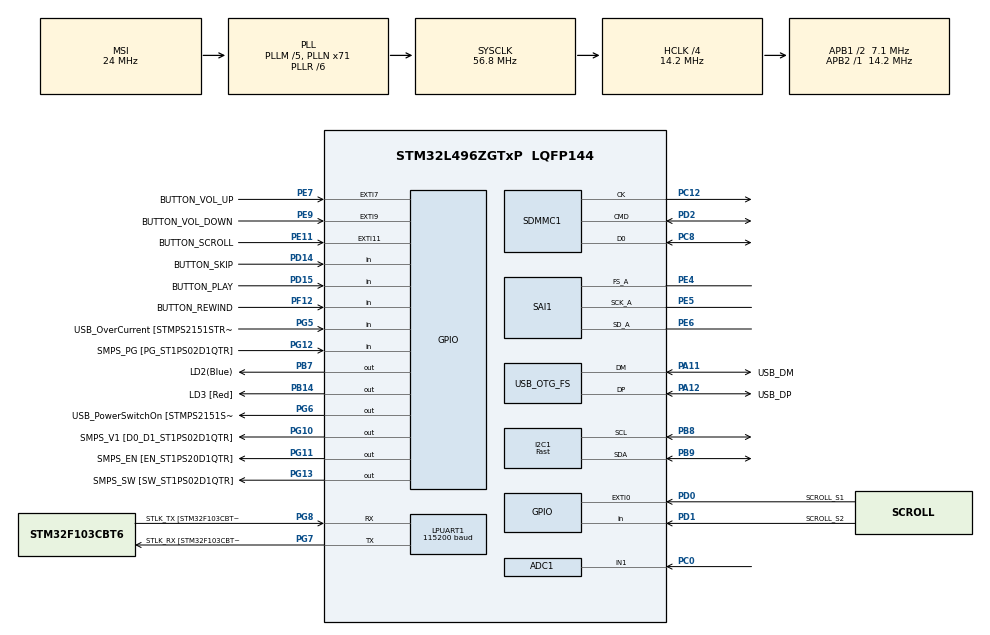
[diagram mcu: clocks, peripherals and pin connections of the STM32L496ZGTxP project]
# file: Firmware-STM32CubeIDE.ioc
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ADC1.Channel-0\#ChannelRegularConversion=ADC_CHANNEL_1
ADC1.NbrOfConversionFlag=1
ADC1.OffsetNumber-0\#ChannelRegularConversion=ADC_OFFSET_NONE
ADC1.Rank-0\#ChannelRegularConversion=1
ADC1.SamplingTime-0\#ChannelRegularConversion=ADC_SAMPLETIME_2CYCLES_5
ADC1.master=1
Dma.ADC1.3.Direction=DMA_PERIPH_TO_MEMORY
Dma.ADC1.3.Instance=DMA1_Channel1
Dma.ADC1.3.MemDataAlignment=DMA_MDATAALIGN_HALFWORD
Dma.ADC1.3.MemInc=DMA_MINC_ENABLE
Dma.ADC1.3.Mode=DMA_CIRCULAR
Dma.ADC1.3.PeriphDataAlignment=DMA_PDATAALIGN_HALFWORD
Dma.ADC1.3.PeriphInc=DMA_PINC_DISABLE
Dma.ADC1.3.Priority=DMA_PRIORITY_LOW
Dma.Request0=SDMMC1_RX
Dma.Request1=SDMMC1_TX
Dma.Request2=SAI1_A
Dma.Request3=ADC1
Dma.SAI1_A.2.Direction=DMA_MEMORY_TO_PERIPH
Dma.SAI1_A.2.Instance=DMA2_Channel1
Dma.SAI1_A.2.MemDataAlignment=DMA_MDATAALIGN_HALFWORD
Dma.SAI1_A.2.MemInc=DMA_MINC_ENABLE
Dma.SAI1_A.2.Mode=DMA_CIRCULAR
Dma.SAI1_A.2.PeriphDataAlignment=DMA_PDATAALIGN_HALFWORD
Dma.SAI1_A.2.PeriphInc=DMA_PINC_DISABLE
Dma.SAI1_A.2.Priority=DMA_PRIORITY_LOW
Dma.SDMMC1_RX.0.Direction=DMA_PERIPH_TO_MEMORY
Dma.SDMMC1_RX.0.Instance=DMA2_Channel4
Dma.SDMMC1_RX.0.MemDataAlignment=DMA_MDATAALIGN_WORD
Dma.SDMMC1_RX.0.MemInc=DMA_MINC_ENABLE
Dma.SDMMC1_RX.0.Mode=DMA_NORMAL
Dma.SDMMC1_RX.0.PeriphDataAlignment=DMA_PDATAALIGN_WORD
Dma.SDMMC1_RX.0.PeriphInc=DMA_PINC_DISABLE
Dma.SDMMC1_RX.0.Priority=DMA_PRIORITY_LOW
Dma.SDMMC1_TX.1.Direction=DMA_MEMORY_TO_PERIPH
Dma.SDMMC1_TX.1.Instance=DMA2_Channel5
Dma.SDMMC1_TX.1.MemDataAlignment=DMA_MDATAALIGN_WORD
Dma.SDMMC1_TX.1.MemInc=DMA_MINC_ENABLE
Dma.SDMMC1_TX.1.Mode=DMA_NORMAL
Dma.SDMMC1_TX.1.PeriphDataAlignment=DMA_PDATAALIGN_WORD
Dma.SDMMC1_TX.1.PeriphInc=DMA_PINC_DISABLE
Dma.SDMMC1_TX.1.Priority=DMA_PRIORITY_LOW
I2C1.I2C_Speed_Mode=I2C_Fast
I2C1.Timing=0x00100208
LPUART1.BaudRate=115200
Mcu.Family=STM32L4
Mcu.Name=STM32L496ZGTxP
Mcu.Package=LQFP144
NVIC.ADC1_2_IRQn=true\:0\:0\:false\:false\:true\:true\:true\:true
NVIC.DMA1_Channel1_IRQn=true\:0\:0\:false\:false\:true\:false\:true\:true
NVIC.DMA2_Channel1_IRQn=true\:0\:0\:false\:false\:true\:false\:true\:true
NVIC.DMA2_Channel4_IRQn=true\:0\:0\:false\:false\:true\:false\:true\:true
NVIC.DMA2_Channel5_IRQn=true\:0\:0\:false\:false\:true\:false\:true\:true
NVIC.EXTI0_IRQn=true\:0\:0\:false\:false\:true\:true\:true\:true
NVIC.EXTI15_10_IRQn=true\:0\:0\:false\:false\:true\:true\:true\:true
NVIC.EXTI9_5_IRQn=true\:1\:0\:true\:false\:true\:true\:true\:true
NVIC.OTG_FS_IRQn=true\:0\:0\:false\:false\:true\:true\:true\:true
NVIC.PriorityGroup=NVIC_PRIORITYGROUP_4
NVIC.SDMMC1_IRQn=true\:0\:0\:false\:false\:true\:true\:true\:true
NVIC.TIM1_UP_TIM16_IRQn=true\:0\:0\:false\:false\:true\:true\:true\:true
PA10.GPIO_Label=USB_ID
PA10.Signal=USB_OTG_FS_ID
PA11.GPIO_Label=USB_DM
PA11.Mode=Host_Only
PA11.Signal=USB_OTG_FS_DM
PA12.GPIO_Label=USB_DP
PA12.Mode=Host_Only
PA12.Signal=USB_OTG_FS_DP
PA13\ (JTMS/SWDIO).GPIO_Label=TMS
PA13\ (JTMS/SWDIO).Mode=Trace_Asynchronous_SW
PA13\ (JTMS/SWDIO).Signal=SYS_JTMS-SWDIO
PA14\ (JTCK/SWCLK).GPIO_Label=TCK
PA14\ (JTCK/SWCLK).Mode=Trace_Asynchronous_SW
PA14\ (JTCK/SWCLK).Signal=SYS_JTCK-SWCLK
PA8.GPIO_Label=USB_SOF [TP1]
PA8.Signal=USB_OTG_FS_SOF
PA9.GPIO_Label=USB_VBUS
PA9.Signal=USB_OTG_FS_VBUS
PB14.GPIO_Label=LD3 [Red]
PB14.Signal=GPIO_Output
PB3\ (JTDO/TRACESWO).GPIO_Label=SWO
PB3\ (JTDO/TRACESWO).Mode=Trace_Asynchronous_SW
PB3\ (JTDO/TRACESWO).Signal=SYS_JTDO-SWO
PB7.GPIO_Label=LD2(Blue)
PB7.Signal=GPIO_Output
PB8.Mode=I2C
PB8.Signal=I2C1_SCL
PB9.Mode=I2C
PB9.Signal=I2C1_SDA
PC0.Signal=ADCx_IN1
PC12.Mode=SD_1_bit
PC12.Signal=SDMMC1_CK
PC14-OSC32_IN\ (PC14).Mode=LSE-External-Oscillator
PC14-OSC32_IN\ (PC14).Signal=RCC_OSC32_IN
PC15-OSC32_OUT\ (PC15).Mode=LSE-External-Oscillator
PC15-OSC32_OUT\ (PC15).Signal=RCC_OSC32_OUT
PC8.GPIO_PuPd=GPIO_PULLUP
PC8.Mode=SD_1_bit
PC8.Signal=SDMMC1_D0
PD0.GPIO_Label=SCROLL_S1
PD0.GPIO_ModeDefaultEXTI=GPIO_MODE_IT_RISING
PD0.Signal=GPXTI0
PD1.GPIO_Label=SCROLL_S2
PD1.GPIO_PuPd=GPIO_PULLUP
PD1.Signal=GPIO_Input
PD14.GPIO_Label=BUTTON_SKIP
PD14.GPIO_PuPd=GPIO_PULLDOWN
PD14.Signal=GPIO_Input
PD15.GPIO_Label=BUTTON_PLAY
PD15.GPIO_PuPd=GPIO_PULLDOWN
PD15.Signal=GPIO_Input
PD2.GPIO_PuPd=GPIO_PULLUP
PD2.Mode=SD_1_bit
PD2.Signal=SDMMC1_CMD
PE11.GPIO_Label=BUTTON_SCROLL
PE11.GPIO_ModeDefaultEXTI=GPIO_MODE_IT_RISING
PE11.GPIO_PuPd=GPIO_PULLDOWN
PE11.Signal=GPXTI11
PE4.Mode=SAI_A_Master
PE4.Signal=SAI1_FS_A
PE5.Mode=SAI_A_Master
PE5.Signal=SAI1_SCK_A
PE6.Mode=SAI_A_Master
PE6.Signal=SAI1_SD_A
PE7.GPIO_Label=BUTTON_VOL_UP
PE7.GPIO_PuPd=GPIO_PULLDOWN
PE7.Signal=GPXTI7
PE9.GPIO_Label=BUTTON_VOL_DOWN
PE9.GPIO_PuPd=GPIO_PULLDOWN
PE9.Signal=GPXTI9
PF12.GPIO_Label=BUTTON_REWIND
PF12.GPIO_PuPd=GPIO_PULLDOWN
PF12.Signal=GPIO_Input
PG10.GPIO_Label=SMPS_V1 [D0_D1_ST1PS02D1QTR]
PG10.Signal=GPIO_Output
PG11.GPIO_Label=SMPS_EN [EN_ST1PS20D1QTR]
PG11.Signal=GPIO_Output
PG12.GPIO_Label=SMPS_PG [PG_ST1PS02D1QTR]
PG12.Signal=GPIO_Input
PG13.GPIO_Label=SMPS_SW [SW_ST1PS02D1QTR]
PG13.Signal=GPIO_Output
PG5.GPIO_Label=USB_OverCurrent [STMPS2151STR_FAULT]
PG5.Signal=GPIO_Input
PG6.GPIO_Label=USB_PowerSwitchOn [STMPS2151STR_EN]
PG6.Signal=GPIO_Output
PG7.GPIO_Label=STLK_RX [STM32F103CBT6_PA3]
PG7.Mode=Asynchronous
PG7.Signal=LPUART1_TX
PG8.GPIO_Label=STLK_TX [STM32F103CBT6_PA2]
PG8.Mode=Asynchronous
PG8.Signal=LPUART1_RX
PH0-OSC_IN\ (PH0).GPIO_Label=MCO
PH0-OSC_IN\ (PH0).Signal=RCC_OSC_IN
PH1-OSC_OUT\ (PH1).Signal=RCC_OSC_OUT
ProjectManager.HeapSize=0x200
ProjectManager.StackSize=0x400
ProjectManager.TargetToolchain=STM32CubeIDE
RCC.48MHZClocksFreq_Value=24000000
RCC.ADCFreq_Value=48000000
RCC.AHBCLKDivider=RCC_SYSCLK_DIV4
RCC.AHBFreq_Value=14200000
RCC.APB1CLKDivider=RCC_HCLK_DIV2
RCC.APB1Freq_Value=7100000
RCC.APB1TimFreq_Value=14200000
RCC.APB2Freq_Value=14200000
RCC.APB2TimFreq_Value=14200000
RCC.CortexFreq_Value=14200000
RCC.HCLKFreq_Value=14200000
RCC.HSE_VALUE=8000000
RCC.HSI48_VALUE=48000000
RCC.HSI_VALUE=16000000
RCC.MSIClockRange=RCC_MSIRANGE_9
RCC.MSI_VALUE=24000000
RCC.PLLM=5
RCC.PLLMUL=RCC_PLL_MUL9
RCC.PLLN=71
RCC.PLLR=RCC_PLLR_DIV6
RCC.PLLSAI1N=20
RCC.PRESCALERUSB=RCC_USBCLKSOURCE_PLL_DIV1_5
RCC.SYSCLKFreq_VALUE=56800000
RCC.SYSCLKSource=RCC_SYSCLKSOURCE_PLLCLK
RCC.SYSCLKSourceVirtual=RCC_SYSCLKSOURCE_PLLCLK
RCC.USBFreq_Value=48000000
RCC.VCOOutputFreq_Value=340800000
SAI1.AudioFrequency-SAI_A_Master=SAI_AUDIO_FREQUENCY_44K
SAI1.ErrorAudioFreq-SAI_A_Master=6.29 %
SAI1.InitProtocol-SAI_A_Master=Enable
SAI1.Instance-SAI_A_Master=SAI$Index_Block_A
SAI1.MClockEnable-SAI_A_Master=SAI_MASTERCLOCK_DISABLE
SAI1.RealAudioFreq-SAI_A_Master=46.875 KHz
SAI1.VirtualMode-SAI_A_Master=VM_MASTER
SAI1.VirtualProtocol-SAI_A_BASIC=VM_BASIC_PROTOCOL
SDMMC1.ClockDiv=16
SH.ADCx_IN1.0=ADC1_IN1,IN1-Single-Ended
TIM1.Period=65535
TIM1.Prescaler=14199
USB_HOST.BSP.number=1
USB_HOST.USBH_HandleTypeDef=hUsbHostFS
USB_HOST.VirtualModeFS=Audio
USB_HOST0.BSP.STBoard=false
USB_HOST0.BSP.api=UnknownBspDriver
USB_HOST0.BSP.instance=PG6
USB_HOST0.BSP.ip=GPIO
USB_HOST0.BSP.mode=Output
USB_HOST0.BSP.name=Drive_VBUS_FS
USB_HOST0.BSP.solution=PG6
USB_OTG_FS.VirtualMode=Host_Only
USB_OTG_FS.phy_itface=HCD_PHY_EMBEDDED
VP_CRC_VS_CRC.Mode=CRC_Activate
VP_FATFS_VS_SDIO.Mode=SDIO
VP_SAI1_VP_$IpInstance_SAIA_SAI_BASIC.Mode=SAI_A_BASIC
VP_TIM1_VS_ClockSourceINT.Mode=Internal
VP_USB_HOST_VS_USB_HOST_AUDIO_FS.Mode=AUDIO_FS
board=NUCLEO-L496ZG-P

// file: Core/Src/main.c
/* USER CODE BEGIN Header */
/**
  ******************************************************************************
  * @file           : main.c
  * @brief          : Main program body
  ******************************************************************************
  * @attention
  *
  * Copyright (c) 2026 STMicroelectronics.
  * All rights reserved.
  *
  * This software is licensed under terms that can be found in the LICENSE file
  * in the root directory of this software component.
  * If no LICENSE file comes with this software, it is provided AS-IS.
  *
  ******************************************************************************
  */
/* USER CODE END Header */
#include "main.h"
#include "fatfs.h"
#include "usb_host.h"

/* USER CODE BEGIN Includes */
#include "ssd1306.h"
#include "ssd1306_tests.h"
#include "ssd1306_fonts.h"
#include "display.h"

#include <stdint.h>
#include <stdio.h>
#include <string.h>
#include <stdbool.h>
/* USER CODE END Includes */

/* USER CODE BEGIN PTD */
typedef struct {
  char *name;
  uint8_t next_screen;
} menu_screen;
/* USER CODE END PTD */

/* USER CODE BEGIN PM */

/* Top Level / Home States */

#define MAIN_MENU 0
#define MUSIC_MENU 1
#define TIMER_MENU 2
#define ALARM_MENU 3
#define SETTINGS_MENU 4

// #define HOME_PAGE_STATE           0
// #define HOME_MUSIC_STATE     1
// #define HOME_TIMER_STATE     2
// #define HOME_ALARM_STATE     3

// /* Music Sub-States */
// #define MUSIC_HOME_STATE 4
// #define MUSIC_PLAYLIST_STATE 5
// #define MUSIC_ALBUM_STATE    6
// #define MUSIC_ALLSONGS_STATE 7
// #define MUSIC_ARTIST_STATE 14

// /* Timer Sub-States */
#define PRESET_TIMERS_MENU   20
#define SET_TIMER_MENU 21

// /* Alarm Sub-States */
// #define ALARM_HOME_STATE 11
// #define ALARM_PRESET_STATE   12
// #define ALARM_SET_STATE      13

//Debugging defines
#define LD3_ON  (HAL_GPIO_WritePin(LD3_GPIO_Port,LD3_Pin, GPIO_PIN_SET))
#define LD3_OFF  (HAL_GPIO_WritePin(LD3_GPIO_Port,LD3_Pin, GPIO_PIN_RESET))
#define LD2_ON  (HAL_GPIO_WritePin(LD2_GPIO_Port,LD2_Pin, GPIO_PIN_SET))
#define LD2_OFF  (HAL_GPIO_WritePin(LD2_GPIO_Port,LD2_Pin, GPIO_PIN_RESET))

#define PLAY_PRESSED (HAL_GPIO_ReadPin(BUTTON_PLAY_GPIO_Port, BUTTON_PLAY_Pin) == GPIO_PIN_SET)
#define REWIND_PRESSED (HAL_GPIO_ReadPin(BUTTON_REWIND_GPIO_Port, BUTTON_REWIND_Pin) == GPIO_PIN_SET)
#define SKIP_PRESSED (HAL_GPIO_ReadPin(BUTTON_SKIP_GPIO_Port, BUTTON_SKIP_Pin) == GPIO_PIN_SET)
#define VOL_DOWN_PRESSED (HAL_GPIO_ReadPin(BUTTON_VOL_DOWN_GPIO_Port, BUTTON_VOL_DOWN_Pin) == GPIO_PIN_SET)
#define VOL_UP_PRESSED   (HAL_GPIO_ReadPin(BUTTON_VOL_UP_GPIO_Port, BUTTON_VOL_UP_Pin) == GPIO_PIN_SET)
#define SCROLL_BUTTON_PRESSED (HAL_GPIO_ReadPin(BUTTON_SCROLL_GPIO_Port, BUTTON_SCROLL_Pin) == GPIO_PIN_RESET)

/* USER CODE END PM */

ADC_HandleTypeDef hadc1;
DMA_HandleTypeDef hdma_adc1;

CRC_HandleTypeDef hcrc;

I2C_HandleTypeDef hi2c1;

UART_HandleTypeDef hlpuart1;

SAI_HandleTypeDef hsai_BlockA1;
DMA_HandleTypeDef hdma_sai1_a;

SD_HandleTypeDef hsd1;
DMA_HandleTypeDef hdma_sdmmc1_rx;
DMA_HandleTypeDef hdma_sdmmc1_tx;

TIM_HandleTypeDef htim1;

/* USER CODE BEGIN PV */
/*
  _____  _____  _______      __       _______ ______   __      __     _____  _____          ____  _      ______  _____
 |  __ \|  __ \|_   _\ \    / /   /\ |__   __|  ____|  \ \    / /\   |  __ \|_   _|   /\   |  _ \| |    |  ____|/ ____|
 | |__) | |__) | | |  \ \  / /   /  \   | |  | |__      \ \  / /  \  | |__) | | |    /  \  | |_) | |    | |__  | (___
 |  ___/|  _  /  | |   \ \/ /   / /\ \  | |  |  __|      \ \/ / /\ \ |  _  /  | |   / /\ \ |  _ <| |    |  __|  \___ \
 | |    | | \ \ _| |_   \  /   / ____ \ | |  | |____      \  / ____ \| | \ \ _| |_ / ____ \| |_) | |____| |____ ____) |
 |_|    |_|  \_\_____|   \/   /_/    \_\|_|  |______|      \/_/    \_\_|  \_\_____/_/    \_\____/|______|______|_____/

*/

/* USER CODE BEGIN PV */
#include "spiritMP3Dec.h" // Ensure this is in your Middlewares folder

TSpiritMP3Decoder mp3_decoder;
TSpiritMP3Info mp3_info;

// Buffer for encoded MP3 data (The "Input")
#define MP3_IN_BUF_SIZE 4096
uint8_t mp3_input_buffer[MP3_IN_BUF_SIZE];

// The audio_buffer you already have will now be the "Output" (PCM)
// Note: SpiritMP3 decodes in frames of 1152 samples per channel.

//Initialisation Code
char test_song[20]="music.wav";
uint8_t current_state = 0;
uint8_t next_state = 0;
bool down_button_last = false;

// SDMMC
FATFS MyFatFS;
FIL MyFile;
FRESULT res;
UINT bw;
uint32_t byteswritten;

// Audio
#define AUDIO_BUF_SIZE (1152*2*2)
#define READBUF_SIZE 4096
uint16_t audio_buffer[AUDIO_BUF_SIZE]; // The main buffer
uint8_t playing = 0;                   // State flag
UINT bytes_read;                       // To track SD card progress
uint8_t readBuf[READBUF_SIZE]; // Buffer for encoded MP3 data
int16_t outBuf[2 * 1152];      // Buffer for decoded PCM data
uint32_t adc_buffer[1];
uint8_t timer_ready = 0;
uint8_t last_button_state = 0;

// Display
volatile uint8_t music_option = 0;
uint16_t gpio_pin = 0;
uint32_t duration;
volatile uint8_t button_scroll_flag = 0;
volatile uint8_t stop_requested = 0;

#define SD_ROOT     "0:/"
#define SD_MUSIC    "0:/Music"

// Miscellaneous (Buttons, Sensors, States etc.)
// All Inputs
uint8_t input_flags = 0x0; // Scroll Button | Scroll 2 (S2) | Scroll 1 (S1) | Vol Down | Vol Up | Rewind | Play | Skip
#define SCROLL_KEY_BIT 7
#define S2_BIT 6
#define S1_BIT 5
#define VOL_DOWN_BIT 4
#define VOL_UP 3
#define REWIND_KEY_BIT 2
#define PLAY_KEY_BIT 1
#define SKIP_KEY_BIT 0

uint8_t previous_volume = 0;
volatile int8_t scroll_value = 0;
int8_t previous_scroll_value = 0;
uint8_t refresh_needed = 0;
uint8_t scroll_button_hold = 0;

uint8_t option = 0;
uint8_t music_volume = 0;
GPIO_PinState s1, s2 = GPIO_PIN_RESET;

/* USER CODE END PV */

void SystemClock_Config(void);
void PeriphCommonClock_Config(void);
static void MX_GPIO_Init(void);
static void MX_DMA_Init(void);
static void MX_LPUART1_UART_Init(void);
static void MX_TIM1_Init(void);
static void MX_I2C1_Init(void);
static void MX_SDMMC1_SD_Init(void);
static void MX_SAI1_Init(void);
static void MX_ADC1_Init(void);
static void MX_CRC_Init(void);
void MX_USB_HOST_Process(void);

/* USER CODE BEGIN PFP */
unsigned int mp3_read_callback(void *pCompressedData, unsigned int nDataSizeInBytes, void *pUserData);
/* USER CODE END PFP */

/* USER CODE BEGIN 0 */
/*
  _____  _____  _______      __       _______ ______   _    _  _____ ______ _____     _____  ____  _____  ______
 |  __ \|  __ \|_   _\ \    / /   /\ |__   __|  ____| | |  | |/ ____|  ____|  __ \   / ____|/ __ \|  __ \|  ____|
 | |__) | |__) | | |  \ \  / /   /  \   | |  | |__    | |  | | (___ | |__  | |__) | | |    | |  | | |  | | |__
 |  ___/|  _  /  | |   \ \/ /   / /\ \  | |  |  __|   | |  | |\___ \|  __| |  _  /  | |    | |  | | |  | |  __|
 | |    | | \ \ _| |_   \  /   / ____ \ | |  | |____  | |__| |____) | |____| | \ \  | |____| |__| | |__| | |____
 |_|    |_|  \_\_____|   \/   /_/    \_\|_|  |______|  \____/|_____/|______|_|  \_\  \_____|\____/|_____/|______|

*/

// void HAL_TIM_PeriodElapsedCallback(TIM_HandleTypeDef *htim){
//   timer_ready = 1;
// 	HAL_GPIO_TogglePin(GPIOB, GPIO_PIN_7);

//

void DebugSDState(void) {
    char msg[30];
    HAL_SD_CardStateTypeDef cardState;
    HAL_SD_CardInfoTypeDef cardInfo;

    // Check raw card state
    cardState = HAL_SD_GetCardState(&hsd1);
    sprintf(msg, "CardState: %d", cardState);
    DrawTextToScreen(msg);
    HAL_Delay(1500);

    // Check card info
    FRESULT info_res = HAL_SD_GetCardInfo(&hsd1, &cardInfo);
    sprintf(msg, "CardInfo: %d", info_res);
    DrawTextToScreen(msg);
    HAL_Delay(1500);

    // Check card type
    sprintf(msg, "CardType: %lu", cardInfo.CardType);
    DrawTextToScreen(msg);
    HAL_Delay(1500);
}

void TestInputsOnly() {
  if (PLAY_PRESSED || REWIND_PRESSED || SKIP_PRESSED || VOL_DOWN_PRESSED || VOL_UP_PRESSED || SCROLL_BUTTON_PRESSED) HAL_GPIO_WritePin(LD3_GPIO_Port, LD3_Pin, GPIO_PIN_SET);
  else HAL_GPIO_WritePin(LD3_GPIO_Port, LD3_Pin, GPIO_PIN_RESET);
}

void TestInputsAndDisplay() {
  ssd1306_Fill(Black);
  #ifdef SSD1306_INCLUDE_FONT_7x10
  ssd1306_SetCursor(2, 25);

  if (PLAY_PRESSED) DrawTextToScreen("Play");
  else if (REWIND_PRESSED) ssd1306_WriteString("Rewind", Font_7x10, White);
  else if (SKIP_PRESSED) ssd1306_WriteString("Skip", Font_7x10, White);
  else if (VOL_DOWN_PRESSED) ssd1306_WriteString("Volume Down", Font_7x10, White);
  else if (VOL_UP_PRESSED) ssd1306_WriteString("Volume Up", Font_7x10, White);
  else if (SCROLL_BUTTON_PRESSED) ssd1306_WriteString("Scroll Pressed", Font_7x10, White);

  #endif
  ssd1306_UpdateScreen();
}

void TestSD() {
  UINT bw; // Variable to store how many bytes were actually written
  res = f_mount(&MyFatFS, (TCHAR const *)SDPath, 1); // res = result

  if (res == FR_OK) {
//    res = f_mkdir("notes");
//    DrawTextToScreen("mkdir notes");
    if (res == FR_OK || res == FR_EXIST) {
      res = f_open(&MyFile, "poo.txt", FA_WRITE | FA_CREATE_ALWAYS);
      if (res == FR_OK) {
        f_write(&MyFile, "Gurt: Yo!", 9, &bw);
        DrawTextToScreen("Gurt:Yso!");
        f_close(&MyFile);
        }
      else {
        DrawTextToScreen("Open Failure");
      }
    }
    f_mount(NULL, "", 0);
  }
  else {
    char err[20];
    sprintf(err, "Res Error B: %d", res);
    DrawTextToScreen(err);
  }
}

void PlayMP3(char *filename) {
    res = f_open(&MyFile, filename, FA_READ);
    if (res == FR_OK) {
        // 1. Initialize Decoder
        SpiritMP3DecoderInit(&mp3_decoder, mp3_read_callback, NULL, NULL);

        // 2. Decode the very first frame to fill the buffer
        SpiritMP3Decode(&mp3_decoder, (int16_t *)audio_buffer, AUDIO_BUF_SIZE/2, &mp3_info);

        // 3. Start DMA (PCM5102A expects I2S/SAI data)
        HAL_SAI_Transmit_DMA(&hsai_BlockA1, (uint8_t *)audio_buffer, AUDIO_BUF_SIZE);
        playing = 1;
    }
}

void PlayMP3FromFolder(char *filename) {
    char path[50];
    sprintf(path, "0:/Music/%s", filename); // Build the full path

    res = f_open(&MyFile, path, FA_READ);
    if (res == FR_OK) {
        // Initialize Decoder
        SpiritMP3DecoderInit(&mp3_decoder, mp3_read_callback, NULL, NULL);

        // Decode first frame to fill mp3_info (contains sample rate)
        SpiritMP3Decode(&mp3_decoder, (int16_t *)audio_buffer, AUDIO_BUF_SIZE/2, &mp3_info);

        // --- IMPORTANT: Adjust SAI Clock to match MP3 Sample Rate ---
        // This prevents the "chipmunk" or "slow-mo" effect
        if(mp3_info.nSampleRateHz != 0) {
            hsai_BlockA1.Init.AudioFrequency = mp3_info.nSampleRateHz;
            HAL_SAI_Init(&hsai_BlockA1);
        }

        // Start playing
        HAL_SAI_Transmit_DMA(&hsai_BlockA1, (uint8_t *)audio_buffer, AUDIO_BUF_SIZE);
        playing = 1;

        // Update Display
        DrawTextToScreen("Now Playing:");
        // ssd1306_WriteString(filename, Font_7x10, White); // Display song name
        // ssd1306_UpdateScreen();
    } else {
        DrawTextToScreen("File Error");
    }
}

void PlaySingleTestSong(void) {
    FRESULT res;

    // 1. Force Mount (The '1' tells it to do it NOW)
    res = f_mount(&MyFatFS, SD_ROOT, 1);

    if (res == FR_OK) {
        // 2. Try to open the file directly from the root
    	res = f_open(&MyFile, "0:/16_Years.mp3", FA_READ);
    	if (res == FR_OK) {
    	    DrawTextToScreen("Playing test.mp3");
    	    SpiritMP3DecoderInit(&mp3_decoder, mp3_read_callback, NULL, NULL);

    	    // Pre-fill both halves of the buffer before DMA starts
    	    SpiritMP3Decode(&mp3_decoder, (int16_t *)&audio_buffer[0],            AUDIO_BUF_SIZE/2, &mp3_info);
    	    SpiritMP3Decode(&mp3_decoder, (int16_t *)&audio_buffer[AUDIO_BUF_SIZE/2], AUDIO_BUF_SIZE/2, &mp3_info);

    	    // Adjust SAI to match the MP3's actual sample rate
    	    if (mp3_info.nSampleRateHz != 0) {
    	        hsai_BlockA1.Init.AudioFrequency = mp3_info.nSampleRateHz;
    	        HAL_SAI_Init(&hsai_BlockA1);
    	    }

    	    HAL_SAI_Transmit_DMA(&hsai_BlockA1, (uint8_t *)audio_buffer, AUDIO_BUF_SIZE);
    	    playing = 1;
    	}
    } else {
        char err[20];
        sprintf(err, "Mnt Err: %d", res); // Still getting 12 or 13?
        DrawTextToScreen(err);
    }
}

// Temporary debug function - call this instead of PlayFirstSongInFolder
void DebugListRoot(void) {
    DIR dj;
    FILINFO fno;
    FRESULT res;
    char msg[30];

    res = f_mount(&MyFatFS, SD_ROOT, 1);
    sprintf(msg, "Mounting: %d", res);
    DrawTextToScreen(msg);
    HAL_Delay(1000);

    res = f_opendir(&dj, SD_ROOT);   // Open root
    sprintf(msg, "Root open: %d", res);
    DrawTextToScreen(msg);
    HAL_Delay(1000);

    if (res == FR_OK) {
        while (1) {
            res = f_readdir(&dj, &fno);
            if (res != FR_OK || fno.fname[0] == 0) break;
            DrawTextToScreen(fno.fname);  // Display every item in root
            HAL_Delay(1500);
        }
        f_closedir(&dj);
    }
}

void PlayFirstSongInFolder(void) {
    DIR dj;             /* Directory object */
    FILINFO fno;        /* File information */
    FRESULT res;

    // Explicitly mount before use
        res = f_mount(&MyFatFS, SD_ROOT, 1);
        if (res != FR_OK) {
            char err[20];
            sprintf(err, "Mnt Err: %d", res);
            DrawTextToScreen(err);
            return;
        }

    // 1. Open the "Music" folder
    res = f_opendir(&dj, "0:/Music");
    if (res == FR_OK) {
        while (1) {
            // Read next item in directory
            res = f_readdir(&dj, &fno);
            if (res != FR_OK || fno.fname[0] == 0) break;  /* Error or end of dir */

            // 2. Check if it's a file (not a folder) and ends in .mp3
            if (!(fno.fattrib & AM_DIR)) {
                if (strstr(fno.fname, ".MP3") || strstr(fno.fname, ".mp3")) {
                    // 3. We found the first song! Play it.
                    PlayMP3FromFolder(fno.fname);

                    // Display the name on your OLED
                    ssd1306_Fill(Black);
                    ssd1306_SetCursor(2, 10);
                    ssd1306_WriteString("Playing:", Font_7x10, White);
                    ssd1306_SetCursor(2, 25);
                    ssd1306_WriteString((char*)fno.fname, Font_7x10, White);
                    ssd1306_UpdateScreen();

                    break; // Exit loop after finding the first one
                }
            }
        }
        f_closedir(&dj);
    } else {
        DrawTextToScreen("Folder Not Found");
    }
}
/* USER CODE END 0 */

int main(void)
{

  /* MCU Configuration--------------------------------------------------------*/

  /* Reset of all peripherals, Initializes the Flash interface and the Systick. */
  HAL_Init();

  /* USER CODE BEGIN Init */
  /* Enable CRC clock - required by spiritmp3dec! */
  __HAL_RCC_CRC_CLK_ENABLE();
  /* USER CODE END Init */

  /* Configure the system clock */
  SystemClock_Config();

  /* Configure the peripherals common clocks */
  PeriphCommonClock_Config();

  /* Initialize all configured peripherals */
  MX_GPIO_Init();
  MX_DMA_Init();
  MX_LPUART1_UART_Init();
  MX_USB_HOST_Init();
  MX_TIM1_Init();
  MX_I2C1_Init();
  MX_SDMMC1_SD_Init();
  MX_FATFS_Init();
  MX_SAI1_Init();
  MX_ADC1_Init();
  MX_CRC_Init();
  /* USER CODE BEGIN 2 */
//  char path_debug[20];
//  sprintf(path_debug, "SDPath:'%s'", SDPath);
//  DrawTextToScreen(path_debug);
//  HAL_Delay(2000);

/*
  _____ _   _ _____ _______ _____          _      _____  _____         _______  _____  ____  _   _  _____
 |_   _| \ | |_   _|__   __|_   _|   /\   | |    |_   _|/ ____|  / \  |__    __|_   _|/ __ \| \ | |/ ____|
   | | |  \| | | |    | |    | |    /  \  | |      | | | (___   /   \    |  |    | | | |  | |  \| | (___
   | | | . ` | | |    | |    | |   / /\ \ | |      | |  \___ \ /  /\ \   |  |    | | | |  | | . ` |\___ \
  _| |_| |\  |_| |_   | |   _| |_ / ____ \| |____ _| |_ ____) /  ____ \  |  |   _| |_| |__| | |\  |____) |
 |_____|_| \_|_____|  |_|  |_____/_/    \_\______|_____|_____/_/     \ \_|__|  |_____|\____/|_| \_|_____/

*/
  if (retSD != 0) {
      DrawTextToScreen("Driver Link Fail");
  }

// Initialisations
  HAL_TIM_Base_Start_IT(&htim1);

  // Display Initialisation
  ssd1306_Init();

  char dbg[30];

  // Check retSD
  sprintf(dbg, "retSD: %d", retSD);
  DrawTextToScreen(dbg);
  HAL_Delay(1500);

  // Check what SD_status returns directly
  DSTATUS stat = disk_status(0);
  sprintf(dbg, "DiskStat: %d", stat);
  DrawTextToScreen(dbg);
  HAL_Delay(1500);

  // Try disk_initialize directly
  DSTATUS init = disk_initialize(0);
  sprintf(dbg, "DiskInit: %d", init);
  DrawTextToScreen(dbg);
  HAL_Delay(1500);

  // Now try mount
  FRESULT mres = f_mount(&MyFatFS, "0:/", 1);
  sprintf(dbg, "Mount: %d", mres);
  DrawTextToScreen(dbg);
  HAL_Delay(1500);
    // TestSD();
  //PlaySingleTestSong();
//  DebugListRoot();
  //DebugSDState();

  menu_screen main_menu[] = {
    {"Music", MUSIC_MENU},
    {"Timer", TIMER_MENU},
    {"Alarm", ALARM_MENU},
    {"Settings", SETTINGS_MENU}
  };

  menu_screen timer_menu[] = {
    {"Back", MAIN_MENU},
    {"Preset Timers", PRESET_TIMERS_MENU},
    {"Set Timer", SET_TIMER_MENU}
  };

  //PlaySong(test_song);
  /* USER CODE END 2 */

  /* Infinite loop */
  /* USER CODE BEGIN WHILE */
  /*
 __          _   _    _ _____ _      ______   _      ____   ____  _____
 \ \        / / | |  | |_   _| |    |  ____| | |    / __ \ / __ \|  __ \
  \ \  /\  / /  | |__| | | | | |    | |__    | |   | |  | | |  | | |__) |
   \ \/  \/ /   |  __  | | | | |    |  __|   | |   | |  | | |  | |  ___/
    \  /\  /    | |  | |_| |_| |____| |____  | |___| |__| | |__| | |
     \/  \/     |_|  |_|_____|______|______| |______\____/ \____/|_|

*/
  while (1) {

    /* Debugging Functions */
    //TestInputs();
    //TestInputsAndDisplay();

	  if (stop_requested) {
	      stop_requested = 0;
	      HAL_SAI_DMAStop(&hsai_BlockA1);
	  }
    /*Controller - View Inputs and change variables accordingly*/
    //Checking scroll
    static uint8_t last_s1_state = 0;
    uint8_t current_s1 = (input_flags >> S1_BIT) & 1;
    if (current_s1 && !last_s1_state) {
      if ((input_flags >> S2_BIT) & 1) {
        option ++;
      }
      else {
        option --;
      }
      scroll_value = 0;
      refresh_needed=1;
      input_flags &= ~((1<<S1_BIT) | (1<<S2_BIT));
    }

    //Volume
    if (music_volume > 20) music_volume = 20;
    else if (music_volume < 0) music_volume = 0;

    if (option > 4) option = 1;
    else if (option < 1) option = 4;

    switch (current_state) {
      case MAIN_MENU:
        if (button_scroll_flag) {
          button_scroll_flag = 0;
          current_state = main_menu[option-1].next_screen;
          refresh_needed=1;
          option=1;
        }
        break;
      case TIMER_MENU:
        if (button_scroll_flag) {
          button_scroll_flag =0;
          current_state = timer_menu[option-1].next_screen;
          refresh_needed=1;
          option=1;
        }
        break;
      case MUSIC_MENU:
          if (button_scroll_flag) {
              button_scroll_flag = 0;
              DIR dj;
                      FRESULT res;
                      char debug_msg[20];

                      // Try to open the Music folder
                      res = f_opendir(&dj, "Music");

                      if (res == FR_OK) {
                          // Success! Now call the play function
                          PlayFirstSongInFolder();
                          f_closedir(&dj);
                      } else {
                          // If it fails, show the EXACT error code
                          // 3 = Not Ready (Hardware issue)
                          // 4 = No Path (Folder name issue)
                          sprintf(debug_msg, "FatFs Err: %d", (int)res);
                          DrawTextToScreen(debug_msg);
                      }

              // This will find the first MP3 in /Music and start the SAI DMA
              //PlayFirstSongInFolder();

              // Optional: change state to a "Now Playing" screen
              // current_state = PLAYING_STATE;
          }
          break;
      // case MUSIC_MENU:
      //   if (button_scroll_flag){PageNotMade("Music Menu"); button_scroll_flag = 0;}
      //   break;
      // case ALARM_MENU:
      //   if (button_scroll_flag){PageNotMade("Alarm Menu"); button_scroll_flag = 0;}
      //   break;
      // case SETTINGS_MENU:
      //   if (button_scroll_flag){PageNotMade("Settings Menu"); button_scroll_flag = 0;}
      //   break;
      default:
        break;
    }
    /* Draw to Screen */
    if (refresh_needed) {
      switch (current_state) {
        case MAIN_MENU: DisplayOptions(option,main_menu[0].name, main_menu[1].name, main_menu[2].name, main_menu[3].name); break;
        case TIMER_MENU: DisplayOptionsTwo(option, timer_menu[0].name, timer_menu[1].name); break;
        default: break;
      }

    }
    refresh_needed=0;
    /* USER CODE END WHILE */
    MX_USB_HOST_Process();

  }
}

void SystemClock_Config(void)
{
  RCC_OscInitTypeDef RCC_OscInitStruct = {0};
  RCC_ClkInitTypeDef RCC_ClkInitStruct = {0};

  /** Configure the main internal regulator output voltage
  */
  if (HAL_PWREx_ControlVoltageScaling(PWR_REGULATOR_VOLTAGE_SCALE1) != HAL_OK)
  {
    Error_Handler();
  }

  /** Configure LSE Drive Capability
  */
  HAL_PWR_EnableBkUpAccess();
  __HAL_RCC_LSEDRIVE_CONFIG(RCC_LSEDRIVE_LOW);

  /** Initializes the RCC Oscillators according to the specified parameters
  * in the RCC_OscInitTypeDef structure.
  */
  RCC_OscInitStruct.OscillatorType = RCC_OSCILLATORTYPE_LSE|RCC_OSCILLATORTYPE_MSI;
  RCC_OscInitStruct.LSEState = RCC_LSE_ON;
  RCC_OscInitStruct.MSIState = RCC_MSI_ON;
  RCC_OscInitStruct.MSICalibrationValue = 0;
  RCC_OscInitStruct.MSIClockRange = RCC_MSIRANGE_9;
  RCC_OscInitStruct.PLL.PLLState = RCC_PLL_ON;
  RCC_OscInitStruct.PLL.PLLSource = RCC_PLLSOURCE_MSI;
  RCC_OscInitStruct.PLL.PLLM = 5;
  RCC_OscInitStruct.PLL.PLLN = 71;
  RCC_OscInitStruct.PLL.PLLP = RCC_PLLP_DIV2;
  RCC_OscInitStruct.PLL.PLLQ = RCC_PLLQ_DIV2;
  RCC_OscInitStruct.PLL.PLLR = RCC_PLLR_DIV6;
  if (HAL_RCC_OscConfig(&RCC_OscInitStruct) != HAL_OK)
  {
    Error_Handler();
  }

  /** Initializes the CPU, AHB and APB buses clocks
  */
  RCC_ClkInitStruct.ClockType = RCC_CLOCKTYPE_HCLK|RCC_CLOCKTYPE_SYSCLK
                              |RCC_CLOCKTYPE_PCLK1|RCC_CLOCKTYPE_PCLK2;
  RCC_ClkInitStruct.SYSCLKSource = RCC_SYSCLKSOURCE_PLLCLK;
  RCC_ClkInitStruct.AHBCLKDivider = RCC_SYSCLK_DIV4;
  RCC_ClkInitStruct.APB1CLKDivider = RCC_HCLK_DIV2;
  RCC_ClkInitStruct.APB2CLKDivider = RCC_HCLK_DIV1;

  if (HAL_RCC_ClockConfig(&RCC_ClkInitStruct, FLASH_LATENCY_0) != HAL_OK)
  {
    Error_Handler();
  }

  /** Enable MSI Auto calibration
  */
  HAL_RCCEx_EnableMSIPLLMode();
}

void PeriphCommonClock_Config(void)
{
  RCC_PeriphCLKInitTypeDef PeriphClkInit = {0};

  /** Initializes the peripherals clock
  */
  PeriphClkInit.PeriphClockSelection = RCC_PERIPHCLK_SAI1|RCC_PERIPHCLK_USB
                              |RCC_PERIPHCLK_SDMMC1|RCC_PERIPHCLK_ADC;
  PeriphClkInit.Sai1ClockSelection = RCC_SAI1CLKSOURCE_PLLSAI1;
  PeriphClkInit.AdcClockSelection = RCC_ADCCLKSOURCE_PLLSAI1;
  PeriphClkInit.UsbClockSelection = RCC_USBCLKSOURCE_PLLSAI1;
  PeriphClkInit.Sdmmc1ClockSelection = RCC_SDMMC1CLKSOURCE_PLLSAI1;
  PeriphClkInit.PLLSAI1.PLLSAI1Source = RCC_PLLSOURCE_MSI;
  PeriphClkInit.PLLSAI1.PLLSAI1M = 5;
  PeriphClkInit.PLLSAI1.PLLSAI1N = 20;
  PeriphClkInit.PLLSAI1.PLLSAI1P = RCC_PLLP_DIV2;
  PeriphClkInit.PLLSAI1.PLLSAI1Q = RCC_PLLQ_DIV2;
  PeriphClkInit.PLLSAI1.PLLSAI1R = RCC_PLLR_DIV2;
  PeriphClkInit.PLLSAI1.PLLSAI1ClockOut = RCC_PLLSAI1_SAI1CLK|RCC_PLLSAI1_48M2CLK
                              |RCC_PLLSAI1_ADC1CLK;
  if (HAL_RCCEx_PeriphCLKConfig(&PeriphClkInit) != HAL_OK)
  {
    Error_Handler();
  }
}

static void MX_ADC1_Init(void)
{

  ADC_MultiModeTypeDef multimode = {0};
  ADC_ChannelConfTypeDef sConfig = {0};

  /** Common config
  */
  hadc1.Instance = ADC1;
  hadc1.Init.ClockPrescaler = ADC_CLOCK_ASYNC_DIV1;
  hadc1.Init.Resolution = ADC_RESOLUTION_12B;
  hadc1.Init.DataAlign = ADC_DATAALIGN_RIGHT;
  hadc1.Init.ScanConvMode = ADC_SCAN_DISABLE;
  hadc1.Init.EOCSelection = ADC_EOC_SINGLE_CONV;
  hadc1.Init.LowPowerAutoWait = DISABLE;
  hadc1.Init.ContinuousConvMode = DISABLE;
  hadc1.Init.NbrOfConversion = 1;
  hadc1.Init.DiscontinuousConvMode = DISABLE;
  hadc1.Init.ExternalTrigConv = ADC_SOFTWARE_START;
  hadc1.Init.ExternalTrigConvEdge = ADC_EXTERNALTRIGCONVEDGE_NONE;
  hadc1.Init.DMAContinuousRequests = DISABLE;
  hadc1.Init.Overrun = ADC_OVR_DATA_PRESERVED;
  hadc1.Init.OversamplingMode = DISABLE;
  if (HAL_ADC_Init(&hadc1) != HAL_OK)
  {
    Error_Handler();
  }

  /** Configure the ADC multi-mode
  */
  multimode.Mode = ADC_MODE_INDEPENDENT;
  if (HAL_ADCEx_MultiModeConfigChannel(&hadc1, &multimode) != HAL_OK)
  {
    Error_Handler();
  }

  /** Configure Regular Channel
  */
  sConfig.Channel = ADC_CHANNEL_1;
  sConfig.Rank = ADC_REGULAR_RANK_1;
  sConfig.SamplingTime = ADC_SAMPLETIME_2CYCLES_5;
  sConfig.SingleDiff = ADC_SINGLE_ENDED;
  sConfig.OffsetNumber = ADC_OFFSET_NONE;
  sConfig.Offset = 0;
  if (HAL_ADC_ConfigChannel(&hadc1, &sConfig) != HAL_OK)
  {
    Error_Handler();
  }

}

static void MX_CRC_Init(void)
{

  hcrc.Instance = CRC;
  hcrc.Init.DefaultPolynomialUse = DEFAULT_POLYNOMIAL_ENABLE;
  hcrc.Init.DefaultInitValueUse = DEFAULT_INIT_VALUE_ENABLE;
  hcrc.Init.InputDataInversionMode = CRC_INPUTDATA_INVERSION_NONE;
  hcrc.Init.OutputDataInversionMode = CRC_OUTPUTDATA_INVERSION_DISABLE;
  hcrc.InputDataFormat = CRC_INPUTDATA_FORMAT_BYTES;
  if (HAL_CRC_Init(&hcrc) != HAL_OK)
  {
    Error_Handler();
  }

}

static void MX_I2C1_Init(void)
{

  hi2c1.Instance = I2C1;
  hi2c1.Init.Timing = 0x00100208;
  hi2c1.Init.OwnAddress1 = 0;
  hi2c1.Init.AddressingMode = I2C_ADDRESSINGMODE_7BIT;
  hi2c1.Init.DualAddressMode = I2C_DUALADDRESS_DISABLE;
  hi2c1.Init.OwnAddress2 = 0;
  hi2c1.Init.OwnAddress2Masks = I2C_OA2_NOMASK;
  hi2c1.Init.GeneralCallMode = I2C_GENERALCALL_DISABLE;
  hi2c1.Init.NoStretchMode = I2C_NOSTRETCH_DISABLE;
  if (HAL_I2C_Init(&hi2c1) != HAL_OK)
  {
    Error_Handler();
  }

  /** Configure Analogue filter
  */
  if (HAL_I2CEx_ConfigAnalogFilter(&hi2c1, I2C_ANALOGFILTER_ENABLE) != HAL_OK)
  {
    Error_Handler();
  }

  /** Configure Digital filter
  */
  if (HAL_I2CEx_ConfigDigitalFilter(&hi2c1, 0) != HAL_OK)
  {
    Error_Handler();
  }

}

static void MX_LPUART1_UART_Init(void)
{

  hlpuart1.Instance = LPUART1;
  hlpuart1.Init.BaudRate = 115200;
  hlpuart1.Init.WordLength = UART_WORDLENGTH_7B;
  hlpuart1.Init.StopBits = UART_STOPBITS_1;
  hlpuart1.Init.Parity = UART_PARITY_NONE;
  hlpuart1.Init.Mode = UART_MODE_TX_RX;
  hlpuart1.Init.HwFlowCtl = UART_HWCONTROL_NONE;
  hlpuart1.Init.OneBitSampling = UART_ONE_BIT_SAMPLE_DISABLE;
  hlpuart1.AdvancedInit.AdvFeatureInit = UART_ADVFEATURE_NO_INIT;
  if (HAL_UART_Init(&hlpuart1) != HAL_OK)
  {
    Error_Handler();
  }

}

static void MX_SAI1_Init(void)
{

  hsai_BlockA1.Instance = SAI1_Block_A;
  hsai_BlockA1.Init.AudioMode = SAI_MODEMASTER_TX;
  hsai_BlockA1.Init.Synchro = SAI_ASYNCHRONOUS;
  hsai_BlockA1.Init.OutputDrive = SAI_OUTPUTDRIVE_DISABLE;
  hsai_BlockA1.Init.NoDivider = SAI_MASTERDIVIDER_ENABLE;
  hsai_BlockA1.Init.FIFOThreshold = SAI_FIFOTHRESHOLD_EMPTY;
  hsai_BlockA1.Init.AudioFrequency = SAI_AUDIO_FREQUENCY_44K;
  hsai_BlockA1.Init.SynchroExt = SAI_SYNCEXT_DISABLE;
  hsai_BlockA1.Init.MonoStereoMode = SAI_STEREOMODE;
  hsai_BlockA1.Init.CompandingMode = SAI_NOCOMPANDING;
  hsai_BlockA1.Init.TriState = SAI_OUTPUT_NOTRELEASED;
  if (HAL_SAI_InitProtocol(&hsai_BlockA1, SAI_I2S_STANDARD, SAI_PROTOCOL_DATASIZE_16BIT, 2) != HAL_OK)
  {
    Error_Handler();
  }

}

static void MX_SDMMC1_SD_Init(void)
{

  hsd1.Instance = SDMMC1;
  hsd1.Init.ClockEdge = SDMMC_CLOCK_EDGE_RISING;
  hsd1.Init.ClockBypass = SDMMC_CLOCK_BYPASS_DISABLE;
  hsd1.Init.ClockPowerSave = SDMMC_CLOCK_POWER_SAVE_DISABLE;
  hsd1.Init.BusWide = SDMMC_BUS_WIDE_1B;
  hsd1.Init.HardwareFlowControl = SDMMC_HARDWARE_FLOW_CONTROL_DISABLE;
  hsd1.Init.ClockDiv = 16;
  /* USER CODE BEGIN SDMMC1_Init 2 */

  if (HAL_SD_Init(&hsd1) != HAL_OK)
  {
      Error_Handler();
  }
  /* USER CODE END SDMMC1_Init 2 */

}

static void MX_TIM1_Init(void)
{

  TIM_ClockConfigTypeDef sClockSourceConfig = {0};
  TIM_MasterConfigTypeDef sMasterConfig = {0};

  htim1.Instance = TIM1;
  htim1.Init.Prescaler = 14199;
  htim1.Init.CounterMode = TIM_COUNTERMODE_UP;
  htim1.Init.Period = 65535;
  htim1.Init.ClockDivision = TIM_CLOCKDIVISION_DIV1;
  htim1.Init.RepetitionCounter = 0;
  htim1.Init.AutoReloadPreload = TIM_AUTORELOAD_PRELOAD_DISABLE;
  if (HAL_TIM_Base_Init(&htim1) != HAL_OK)
  {
    Error_Handler();
  }
  sClockSourceConfig.ClockSource = TIM_CLOCKSOURCE_INTERNAL;
  if (HAL_TIM_ConfigClockSource(&htim1, &sClockSourceConfig) != HAL_OK)
  {
    Error_Handler();
  }
  sMasterConfig.MasterOutputTrigger = TIM_TRGO_RESET;
  sMasterConfig.MasterOutputTrigger2 = TIM_TRGO2_RESET;
  sMasterConfig.MasterSlaveMode = TIM_MASTERSLAVEMODE_DISABLE;
  if (HAL_TIMEx_MasterConfigSynchronization(&htim1, &sMasterConfig) != HAL_OK)
  {
    Error_Handler();
  }

}

static void MX_DMA_Init(void)
{

  /* DMA controller clock enable */
  __HAL_RCC_DMA2_CLK_ENABLE();
  __HAL_RCC_DMA1_CLK_ENABLE();

  /* DMA interrupt init */
  /* DMA1_Channel1_IRQn interrupt configuration */
  HAL_NVIC_SetPriority(DMA1_Channel1_IRQn, 0, 0);
  HAL_NVIC_EnableIRQ(DMA1_Channel1_IRQn);
  /* DMA2_Channel1_IRQn interrupt configuration */
  HAL_NVIC_SetPriority(DMA2_Channel1_IRQn, 0, 0);
  HAL_NVIC_EnableIRQ(DMA2_Channel1_IRQn);
  /* DMA2_Channel4_IRQn interrupt configuration */
  HAL_NVIC_SetPriority(DMA2_Channel4_IRQn, 0, 0);
  HAL_NVIC_EnableIRQ(DMA2_Channel4_IRQn);
  /* DMA2_Channel5_IRQn interrupt configuration */
  HAL_NVIC_SetPriority(DMA2_Channel5_IRQn, 0, 0);
  HAL_NVIC_EnableIRQ(DMA2_Channel5_IRQn);

}

static void MX_GPIO_Init(void)
{
  GPIO_InitTypeDef GPIO_InitStruct = {0};

  /* GPIO Ports Clock Enable */
  __HAL_RCC_GPIOE_CLK_ENABLE();
  __HAL_RCC_GPIOC_CLK_ENABLE();
  __HAL_RCC_GPIOH_CLK_ENABLE();
  __HAL_RCC_GPIOF_CLK_ENABLE();
  __HAL_RCC_GPIOB_CLK_ENABLE();
  __HAL_RCC_GPIOD_CLK_ENABLE();
  __HAL_RCC_GPIOG_CLK_ENABLE();
  HAL_PWREx_EnableVddIO2();
  __HAL_RCC_GPIOA_CLK_ENABLE();

  /*Configure GPIO pin Output Level */
  HAL_GPIO_WritePin(GPIOB, LD3_Pin|LD2_Pin, GPIO_PIN_RESET);

  /*Configure GPIO pin Output Level */
  HAL_GPIO_WritePin(GPIOG, USB_PowerSwitchOn_Pin|SMPS_V1_Pin|SMPS_EN_Pin|SMPS_SW_Pin, GPIO_PIN_RESET);

  /*Configure GPIO pin : BUTTON_REWIND_Pin */
  GPIO_InitStruct.Pin = BUTTON_REWIND_Pin;
  GPIO_InitStruct.Mode = GPIO_MODE_INPUT;
  GPIO_InitStruct.Pull = GPIO_PULLDOWN;
  HAL_GPIO_Init(BUTTON_REWIND_GPIO_Port, &GPIO_InitStruct);

  /*Configure GPIO pins : BUTTON_VOL_UP_Pin BUTTON_VOL_DOWN_Pin BUTTON_SCROLL_Pin */
  GPIO_InitStruct.Pin = BUTTON_VOL_UP_Pin|BUTTON_VOL_DOWN_Pin|BUTTON_SCROLL_Pin;
  GPIO_InitStruct.Mode = GPIO_MODE_IT_RISING;
  GPIO_InitStruct.Pull = GPIO_PULLDOWN;
  HAL_GPIO_Init(GPIOE, &GPIO_InitStruct);

  /*Configure GPIO pins : LD3_Pin LD2_Pin */
  GPIO_InitStruct.Pin = LD3_Pin|LD2_Pin;
  GPIO_InitStruct.Mode = GPIO_MODE_OUTPUT_PP;
  GPIO_InitStruct.Pull = GPIO_NOPULL;
  GPIO_InitStruct.Speed = GPIO_SPEED_FREQ_LOW;
  HAL_GPIO_Init(GPIOB, &GPIO_InitStruct);

  /*Configure GPIO pins : BUTTON_SKIP_Pin BUTTON_PLAY_Pin */
  GPIO_InitStruct.Pin = BUTTON_SKIP_Pin|BUTTON_PLAY_Pin;
  GPIO_InitStruct.Mode = GPIO_MODE_INPUT;
  GPIO_InitStruct.Pull = GPIO_PULLDOWN;
  HAL_GPIO_Init(GPIOD, &GPIO_InitStruct);

  /*Configure GPIO pins : USB_OverCurrent_Pin SMPS_PG_Pin */
  GPIO_InitStruct.Pin = USB_OverCurrent_Pin|SMPS_PG_Pin;
  GPIO_InitStruct.Mode = GPIO_MODE_INPUT;
  GPIO_InitStruct.Pull = GPIO_NOPULL;
  HAL_GPIO_Init(GPIOG, &GPIO_InitStruct);

  /*Configure GPIO pins : USB_PowerSwitchOn_Pin SMPS_V1_Pin SMPS_EN_Pin SMPS_SW_Pin */
  GPIO_InitStruct.Pin = USB_PowerSwitchOn_Pin|SMPS_V1_Pin|SMPS_EN_Pin|SMPS_SW_Pin;
  GPIO_InitStruct.Mode = GPIO_MODE_OUTPUT_PP;
  GPIO_InitStruct.Pull = GPIO_NOPULL;
  GPIO_InitStruct.Speed = GPIO_SPEED_FREQ_LOW;
  HAL_GPIO_Init(GPIOG, &GPIO_InitStruct);

  /*Configure GPIO pin : SCROLL_S1_Pin */
  GPIO_InitStruct.Pin = SCROLL_S1_Pin;
  GPIO_InitStruct.Mode = GPIO_MODE_IT_RISING;
  GPIO_InitStruct.Pull = GPIO_NOPULL;
  HAL_GPIO_Init(SCROLL_S1_GPIO_Port, &GPIO_InitStruct);

  /*Configure GPIO pin : SCROLL_S2_Pin */
  GPIO_InitStruct.Pin = SCROLL_S2_Pin;
  GPIO_InitStruct.Mode = GPIO_MODE_INPUT;
  GPIO_InitStruct.Pull = GPIO_PULLUP;
  HAL_GPIO_Init(SCROLL_S2_GPIO_Port, &GPIO_InitStruct);

  /* EXTI interrupt init*/
  HAL_NVIC_SetPriority(EXTI0_IRQn, 0, 0);
  HAL_NVIC_EnableIRQ(EXTI0_IRQn);

  HAL_NVIC_SetPriority(EXTI9_5_IRQn, 1, 0);
  HAL_NVIC_EnableIRQ(EXTI9_5_IRQn);

  HAL_NVIC_SetPriority(EXTI15_10_IRQn, 0, 0);
  HAL_NVIC_EnableIRQ(EXTI15_10_IRQn);

}

/* USER CODE BEGIN 4 */

/* This fills the FIRST half (Index 0 to BUF_SIZE/2 - 1) */

unsigned int mp3_read_callback(void *pCompressedData, unsigned int nDataSizeInBytes, void *pUserData)
{
    UINT bytes_read;
    f_read(&MyFile, pCompressedData, nDataSizeInBytes, &bytes_read);

    if (bytes_read == 0) {
        playing = 0;
        stop_requested = 1;
        f_close(&MyFile);
    }
    return bytes_read;
}

void HAL_SAI_TxHalfCpltCallback(SAI_HandleTypeDef *hsai) {
    // Decode new data into the first half of the audio_buffer
    SpiritMP3Decode(&mp3_decoder, (int16_t *)&audio_buffer[0], AUDIO_BUF_SIZE/4, &mp3_info);
}

void HAL_SAI_TxCpltCallback(SAI_HandleTypeDef *hsai) {
    // Decode new data into the second half of the audio_buffer
    SpiritMP3Decode(&mp3_decoder, (int16_t *)&audio_buffer[AUDIO_BUF_SIZE/2], AUDIO_BUF_SIZE/4, &mp3_info);
}

void HAL_GPIO_EXTI_Callback(uint16_t GPIO_Pin)
{
  if (GPIO_Pin == SCROLL_S1_Pin) {
    if (HAL_GPIO_ReadPin(SCROLL_S1_GPIO_Port, SCROLL_S1_Pin)) {input_flags |= (1 << S1_BIT);} else {input_flags &= ~(1 << S1_BIT);}
    if (HAL_GPIO_ReadPin(SCROLL_S2_GPIO_Port, SCROLL_S2_Pin)) {input_flags |= (1 << S2_BIT);} else {input_flags &= ~(1 << S2_BIT);}
  }

  if (GPIO_Pin == BUTTON_VOL_UP_Pin) {
    uint8_t button_timer = HAL_TIM_Base_Start_IT(&htim1);
    music_volume++;
  }

  if (GPIO_Pin == BUTTON_VOL_DOWN_Pin) {
    music_volume--;
  }

  if (GPIO_Pin == BUTTON_SCROLL_Pin) {
    button_scroll_flag = 1;
  }
}
/* USER CODE END 4 */

void Error_Handler(void)
{
  __disable_irq();
  while (1)
  {
  }
}
